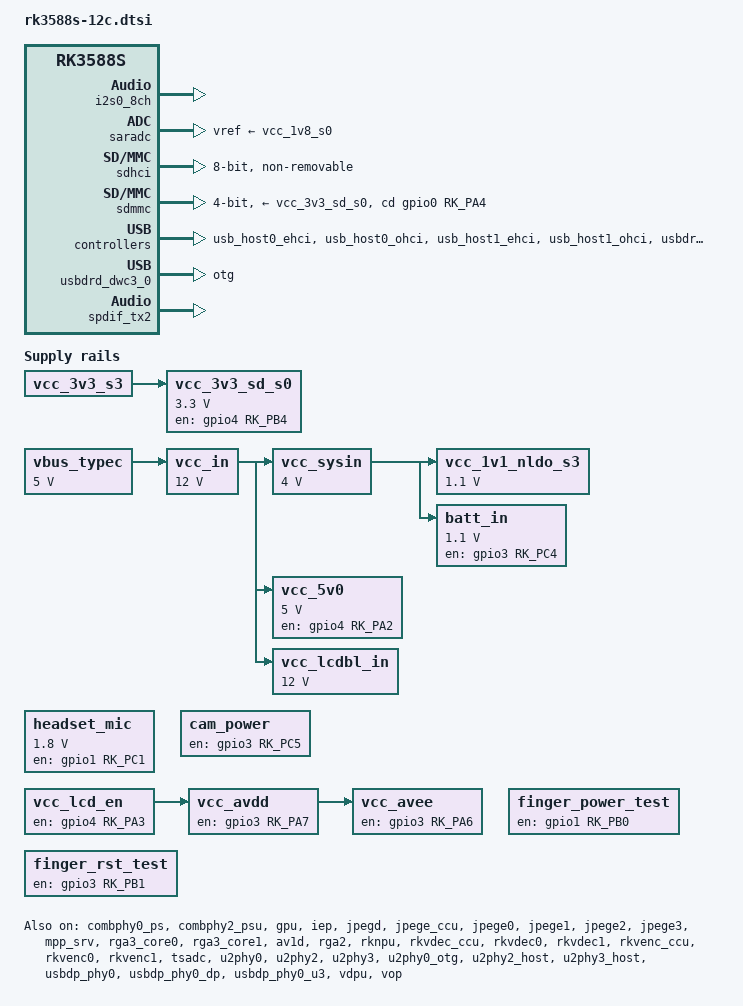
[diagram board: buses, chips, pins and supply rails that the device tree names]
// SPDX-License-Identifier: (GPL-2.0+ OR MIT)
/*
 * Copyright (c) 2021 Rockchip Electronics Co., Ltd.
 *
 */

#include <dt-bindings/gpio/gpio.h>
#include <dt-bindings/pwm/pwm.h>
#include <dt-bindings/pinctrl/rockchip.h>
#include <dt-bindings/input/rk-input.h>
#include <dt-bindings/display/drm_mipi_dsi.h>
#include <dt-bindings/display/rockchip_vop.h>
#include <dt-bindings/sensor-dev.h>

/ {
	hdmi0_sound: hdmi0-sound {
		status = "disabled";
		compatible = "simple-audio-card";
		simple-audio-card,format = "i2s";
		simple-audio-card,mclk-fs = <128>;
		simple-audio-card,name = "rockchip,hdmi0";

		simple-audio-card,cpu {
			sound-dai = <&i2s5_8ch>;
		};
		simple-audio-card,codec {
			sound-dai = <&hdmi0>;
		};
	};

  dp0_sound: dp0-sound {
      status = "okay";
      compatible = "rockchip,hdmi";
      rockchip,card-name = "HDMI/DP-rockchip-0";
      rockchip,mclk-fs = <512>;
      rockchip,cpu = <&spdif_tx2>;
      rockchip,codec = <&dp0 1>;
      rockchip,jack-det;
  };

	spdif_tx1_dc: spdif-tx1-dc {
		status = "disabled";
		compatible = "linux,spdif-dit";
		#sound-dai-cells = <0>;
	};

	spdif_tx1_sound: spdif-tx1-sound {
		status = "disabled";
		compatible = "simple-audio-card";
		simple-audio-card,name = "rockchip,spdif-tx1";
		simple-audio-card,cpu {
			sound-dai = <&spdif_tx1>;
		};
		simple-audio-card,codec {
			sound-dai = <&spdif_tx1_dc>;
		};
	};

	test-power {
		status = "disabled";
	};

	vbus_typec: vbus-typec {
		compatible = "regulator-fixed";
		regulator-name = "vbus_typec";
		regulator-always-on;
		regulator-boot-on;
		regulator-min-microvolt = <5000000>;
		regulator-max-microvolt = <5000000>;
	};

	vcc_in: vcc-in {
		compatible = "regulator-fixed";
		regulator-name = "vcc_in";
		regulator-always-on;
		regulator-boot-on;
		regulator-min-microvolt = <12000000>;
		regulator-max-microvolt = <12000000>;
		vin-supply = <&vbus_typec>;
	};

	vcc_sysin: vcc-sysin {
		compatible = "regulator-fixed";
		regulator-name = "vcc_sysin";
		regulator-always-on;
		regulator-boot-on;
		regulator-min-microvolt = <4000000>;
		regulator-max-microvolt = <4000000>;
		vin-supply = <&vcc_in>;
	};

	vcc_5v0: vcc-5v0 {
		compatible = "regulator-fixed";
		regulator-name = "vcc_5v0";
		regulator-always-on;
		regulator-boot-on;
		regulator-min-microvolt = <5000000>;
		regulator-max-microvolt = <5000000>;
		enable-active-high;
		gpio = <&gpio4 RK_PA2 GPIO_ACTIVE_HIGH>;
		pinctrl-names = "default";
		pinctrl-0 = <&vcc_5v0_en>;
		vin-supply = <&vcc_in>;
	};

	headset_mic: headset-mic {
		compatible = "regulator-fixed";
		regulator-name = "headset_mic";
		regulator-always-on;
		regulator-boot-on;
		regulator-min-microvolt = <1800000>;
		regulator-max-microvolt = <1800000>;
		enable-active-high;
		gpio = <&gpio1 RK_PC1 GPIO_ACTIVE_HIGH>;
		pinctrl-names = "default";
		pinctrl-0 = <&vcc_headset_mic>;
	};

	vcc_lcdbl_in: vcc-lcdbl-in {
		compatible = "regulator-fixed";
		regulator-name = "vcc_lcdbl_in";
		regulator-always-on;
		regulator-boot-on;
		regulator-min-microvolt = <12000000>;
		regulator-max-microvolt = <12000000>;
		vin-supply = <&vcc_in>;
	};


	vcc_1v1_nldo_s3: vcc-1v1-nldo-s3 {
		compatible = "regulator-fixed";
		regulator-name = "vcc_1v1_nldo_s3";
		regulator-always-on;
		regulator-boot-on;
		regulator-min-microvolt = <1100000>;
		regulator-max-microvolt = <1100000>;
		vin-supply = <&vcc_sysin>;
	};

	batt_in: batt-in {
		compatible = "regulator-fixed";
		regulator-name = "batt_in";
		regulator-always-on;
		regulator-boot-on;
		regulator-min-microvolt = <1100000>;
		regulator-max-microvolt = <1100000>;
		gpio = <&gpio3 RK_PC4 GPIO_ACTIVE_HIGH>;
		enable-active-high;
		pinctrl-names = "default";
		pinctrl-0 = <&batt_in_en>;
		vin-supply = <&vcc_sysin>;
	};

	cam_power: cam-power {
		compatible = "regulator-fixed";
		regulator-name = "cam_power";
		regulator-always-on;
		regulator-boot-on;
		gpio = <&gpio3 RK_PC5 GPIO_ACTIVE_HIGH>;
		enable-active-high;
		pinctrl-names = "default";
		pinctrl-0 = <&cam_power_en>;
	};

  vcc_3v3_sd_s0: vcc-3v3-sd-s0 {
    compatible = "regulator-fixed";
    regulator-name = "vcc_3v3_sd_s0";
    regulator-min-microvolt = <3300000>;
    regulator-max-microvolt = <3300000>;
    gpios = <&gpio4 RK_PB4 GPIO_ACTIVE_HIGH>;
    enable-active-high;
    regulator-boot-on;
    vin-supply = <&vcc_3v3_s3>;
    regulator-state-mem {
      regulator-off-in-suspend;
    };
  };

  vcc_lcd_en: vcc-lcd-en {
    compatible = "regulator-fixed";
    regulator-name = "vcc_lcd_en";
    enable-active-high;
    gpio = <&gpio4 RK_PA3 GPIO_ACTIVE_HIGH>;
    pinctrl-names = "default";
    pinctrl-0 = <&vcc_lcd_en_pin>;
  };

  vcc_avdd: vcc-avdd {
    compatible = "regulator-fixed";
    regulator-name = "vcc_avdd";
    enable-active-high;
    gpio = <&gpio3 RK_PA7 GPIO_ACTIVE_HIGH>;
    pinctrl-names = "default";
    startup-delay-us = <3>;
    pinctrl-0 = <&avdd_lcd_gpio>;
    vin-supply = <&vcc_lcd_en>;
  };

  vcc_avee: vcc-avee {
    compatible = "regulator-fixed";
    regulator-name = "vcc_avee";
    enable-active-high;
    gpio = <&gpio3 RK_PA6 GPIO_ACTIVE_HIGH>;
    pinctrl-names = "default";
    startup-delay-us = <3>;
    pinctrl-0 = <&avee_lcd_gpio>;
    vin-supply = <&vcc_avdd>;
  };

	finger_power_test: finger-power-test {
		compatible = "regulator-fixed";
		regulator-name = "finger_power";
		regulator-always-on;
		regulator-boot-on;
		gpio = <&gpio1 RK_PB0 GPIO_ACTIVE_HIGH>;
		enable-active-high;
		pinctrl-names = "default";
		pinctrl-0 = <&finger_power_test_en>;
	};

	finger_rst_test: finger-rst-test {
		compatible = "regulator-fixed";
		regulator-name = "finger_rst";
		regulator-always-on;
		regulator-boot-on;
		gpio = <&gpio3 RK_PB1 GPIO_ACTIVE_HIGH>;
		enable-active-high;
		pinctrl-names = "default";
		pinctrl-0 = <&finger_rst_test_en>;
	};

  pinctrl-user {
	  12c-power {
  		vcc_5v0_en: vcc_5v0_en {
  			rockchip,pins = <4 RK_PA2 RK_FUNC_GPIO &pcfg_pull_up>;
  		};
  		cam_power_en: cam-power-en {
  			rockchip,pins = <3 RK_PC5 RK_FUNC_GPIO &pcfg_pull_none>;
  		};
  		finger_power_test_en: finger-power-test-en {
  			rockchip,pins = <1 RK_PB0 RK_FUNC_GPIO &pcfg_pull_none>;
  		};
  		finger_rst_test_en: finger-rst-test-en {
  			rockchip,pins = <3 RK_PB1 RK_FUNC_GPIO &pcfg_pull_none>;
  		};
  		sdmmc_power_en: sdmmc-power-en {
  			rockchip,pins = <4 RK_PB4 RK_FUNC_GPIO &pcfg_pull_up>;
  		};
  		vcc_headset_mic: vcc-headset-mic {
  			rockchip,pins = <1 RK_PC1 RK_FUNC_GPIO &pcfg_pull_none>;
  		};
	  };
  };
};

&combphy0_ps {
	status = "okay";
};

&combphy2_psu {
	status = "okay";
};

&cpu_l0 {
	cpu-supply = <&vdd_cpu_lit_s0>;
	mem-supply = <&vdd_cpu_lit_mem_s0>;
};

&cpu_b0 {
	cpu-supply = <&vdd_cpu_big0_s0>;
	mem-supply = <&vdd_cpu_big0_mem_s0>;
};

&cpu_b2 {
	cpu-supply = <&vdd_cpu_big1_s0>;
	mem-supply = <&vdd_cpu_big1_mem_s0>;
};


&gpu {
	mali-supply = <&vdd_gpu_s0>;
	mem-supply = <&vdd_gpu_mem_s0>;
	status = "okay";
};

&i2s0_8ch {
	status = "okay";
	pinctrl-0 = <&i2s0_lrck
		     &i2s0_sclk
		     &i2s0_sdi0
		     &i2s0_sdo0>;
};

&iep {
	status = "okay";
};

&iep_mmu {
	status = "okay";
};

&jpegd {
	status = "okay";
};

&jpegd_mmu {
	status = "okay";
};

&jpege_ccu {
	status = "okay";
};

&jpege0 {
	status = "okay";
};

&jpege0_mmu {
	status = "okay";
};

&jpege1 {
	status = "okay";
};

&jpege1_mmu {
	status = "okay";
};

&jpege2 {
	status = "okay";
};

&jpege2_mmu {
	status = "okay";
};

&jpege3 {
	status = "okay";
};

&jpege3_mmu {
	status = "okay";
};

&mpp_srv {
	status = "okay";
};

&rga3_core0 {
	status = "okay";
};

&rga3_0_mmu {
	status = "okay";
};

&rga3_core1 {
	status = "okay";
};

&av1d {
  status = "okay";
};

&av1d_mmu {
  status = "okay";
};
&rga3_1_mmu {
	status = "okay";
};

&rga2 {
	status = "okay";
};

&rknpu {
	rknpu-supply = <&vdd_npu_s0>;
	mem-supply = <&vdd_npu_mem_s0>;
	status = "okay";
};

&rknpu_mmu {
	status = "okay";
};

&rkvdec_ccu {
	status = "okay";
};

&rkvdec0 {
	status = "okay";
};

&rkvdec0_mmu {
	status = "okay";
};

&rkvdec1 {
	status = "okay";
};

&rkvdec1_mmu {
	status = "okay";
};

&rkvenc_ccu {
	status = "okay";
};

&rkvenc0 {
	status = "okay";
};

&rkvenc0_mmu {
	status = "okay";
};

&rkvenc1 {
	status = "okay";
};

&rkvenc1_mmu {
	status = "okay";
};

&rockchip_suspend {
	status = "okay";
	rockchip,sleep-debug-en = <1>;
};

&saradc {
        status = "okay";
        vref-supply = <&vcc_1v8_s0>;
};

&sdhci {
	bus-width = <8>;
	no-sdio;
	no-sd;
	non-removable;
	max-frequency = <200000000>;
	mmc-hs400-1_8v;
	mmc-hs400-enhanced-strobe;
	status = "okay";
};

&sdmmc {
	max-frequency = <150000000>;
	no-sdio;
	no-mmc;
	bus-width = <4>;
	cap-sd-highspeed;
	cap-mmc-highspeed;
	// clock-frequency = <100000000>;
	disable-wp;
	broken-cd;
	// sd-uhs-sdr104;
	cd-gpios = <&gpio0 RK_PA4 0>;
	card-detect-delay = <800>;
	vmmc-supply = <&vcc_3v3_sd_s0>;
	status = "okay";
};

&tsadc {
	status = "okay";
};

&u2phy0 {
	status = "okay";
};

&u2phy2 {
	status = "okay";
};

&u2phy3 {
	status = "okay";
};

&u2phy0_otg {
	status = "okay";
};

&u2phy2_host {
	status = "okay";
};

&u2phy3_host {
	status = "okay";
};

&usb_host0_ehci {
	status = "okay";
};

&usb_host0_ohci {
	status = "okay";
};

&usb_host1_ehci {
	status = "okay";
};

&usb_host1_ohci {
	status = "okay";
};

&usbdp_phy0 {
	status = "okay";
};

&usbdp_phy0_dp {
	status = "okay";
};

&usbdp_phy0_u3 {
	status = "okay";
};

&usbdrd3_0 {
	status = "okay";
};

&usbdrd_dwc3_0 {
	dr_mode = "otg";
	status = "okay";
};

&usbhost3_0 {
	status = "okay";
};

&usbhost_dwc3_0 {
	status = "okay";
};

&vdpu {
	status = "okay";
};

&vdpu_mmu {
	status = "okay";
};

&vop {
  disable-win-move;
	status = "okay";
};

&vop_mmu {
	status = "okay";
};

&spdif_tx2 {
	status = "okay";
};

&vp0 {
  cursor-win-id=<ROCKCHIP_VOP2_ESMART0>;
  rockchip,plane-mask = <(1 << ROCKCHIP_VOP2_CLUSTER0 | 1 << ROCKCHIP_VOP2_ESMART0)>;
  rockchip,primary-plane = <ROCKCHIP_VOP2_CLUSTER0>;
};

&vp1 {
  cursor-win-id=<ROCKCHIP_VOP2_ESMART1>;
  rockchip,plane-mask = <(1 << ROCKCHIP_VOP2_CLUSTER1 | 1 << ROCKCHIP_VOP2_ESMART1)>;
  rockchip,primary-plane = <ROCKCHIP_VOP2_CLUSTER1>;
};

&vp2 {
  cursor-win-id=<ROCKCHIP_VOP2_ESMART2>;
  rockchip,plane-mask = <(1 << ROCKCHIP_VOP2_CLUSTER2 | 1 << ROCKCHIP_VOP2_ESMART2)>;
  rockchip,primary-plane = <ROCKCHIP_VOP2_CLUSTER2>;
};

&vp3 {
  cursor-win-id=<ROCKCHIP_VOP2_ESMART3>;
  rockchip,plane-mask = <(1 << ROCKCHIP_VOP2_CLUSTER3 | 1 << ROCKCHIP_VOP2_ESMART3)>;
  rockchip,primary-plane = <ROCKCHIP_VOP2_CLUSTER3>;
};


&sdmmc_bus4 {
	rockchip,pins =
        <4 RK_PD0 1 &pcfg_pull_up_drv_level_12>,
        <4 RK_PD1 1 &pcfg_pull_up_drv_level_12>,
        <4 RK_PD2 1 &pcfg_pull_up_drv_level_12>,
        <4 RK_PD3 1 &pcfg_pull_up_drv_level_12>;
};

&sdmmc_clk {
   rockchip,pins =
        <4 RK_PD5 1 &pcfg_pull_up_drv_level_12>;
};

&sdmmc_cmd {
  rockchip,pins =
        <4 RK_PD4 1 &pcfg_pull_up_drv_level_12>;
};

